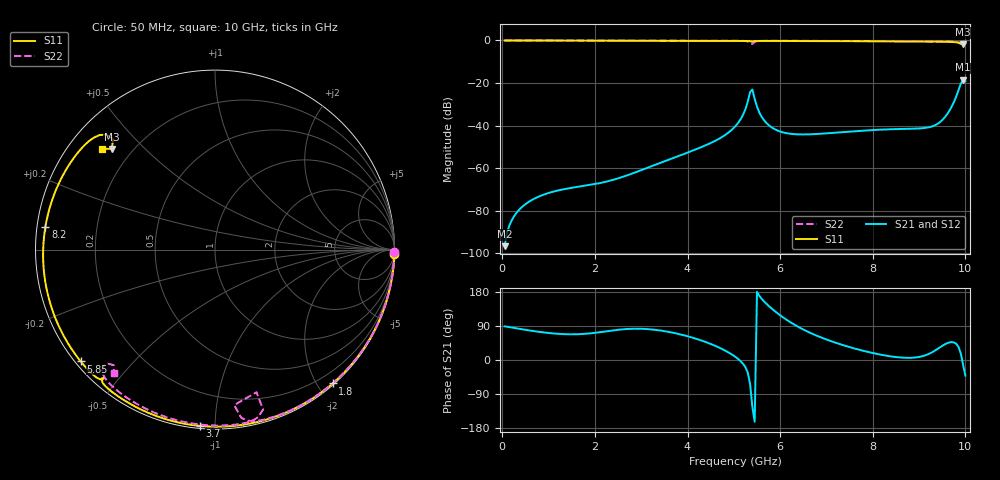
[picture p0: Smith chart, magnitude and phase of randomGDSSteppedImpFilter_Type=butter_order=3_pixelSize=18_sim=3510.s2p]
! freq	dB(S11)	phase(S11)	dB(S12)	phase(S12)
!  dB(S21)	phase(S21)	dB(S22)	phase(S22)
!S-par simulation data
#  GHz  S  DB  R 50
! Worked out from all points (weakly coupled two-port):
!   200 points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, 50 MHz to 10 GHz, reference 50 ohm
!   highest |S21| = -18.40 dB at 9.95 GHz (marker M1); lowest = -96.6 dB at 50 MHz (marker M2)
!   lowest |S11| = -1.9 dB at 9.95 GHz (marker M3), VSWR 9.21, Z = 6.32 + j20.1 ohm
!   |S11| at or under -10 dB: nowhere
!   |S22| runs from -1.6 to 0.0 dB; largest |S21 - S12| = 0
!   S11 on the Smith chart (normalised r, x): 50 MHz: 0, -82; 1.8 GHz: 0.02, -2.21; 3.7 GHz: 0.01, -0.92; 5.85 GHz: 0.02, -0.36; 8.2 GHz: 0.02, +0.07; 10 GHz: 0.10, +0.38
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0.05  -0.00 -1.4  -96.62 88.9  -96.62 88.9  -0.00 -0.8
0.35  -0.01 -9.7  -79.84 82.6  -79.84 82.6  -0.01 -5.4
0.85  -0.03 -23.4  -72.77 73.4  -72.77 73.4  -0.02 -13.0
1.75  -0.06 -47.4  -68.35 68.8  -68.35 68.8  -0.03 -26.6
1.8  -0.06 -48.7  -68.18 69.2  -68.18 69.2  -0.03 -27.4
3.4  -0.11 -87.9  -57.60 78.0  -57.60 78.0  -0.07 -50.7
3.7  -0.12 -94.8  -55.14 71.6  -55.14 71.6  -0.07 -55.0
4.6  -0.16 -114.7  -47.11 37.3  -47.11 37.3  -0.10 -67.7
5.05  -0.18 -124.3  -39.85 6.8  -39.85 6.8  -0.13 -74.5
5.25  -0.22 -128.8  -32.29 -19.0  -32.29 -19.0  -0.26 -79.1
5.35  -0.39 -131.4  -24.25 -62.7  -24.25 -62.7  -1.18 -83.0
5.4  -0.48 -130.7  -23.03 -123.7  -23.03 -123.7  -1.64 -73.8
5.55  -0.24 -133.8  -33.83 169.4  -33.83 169.4  -0.24 -77.0
5.85  -0.23 -140.2  -41.28 132.4  -41.28 132.4  -0.16 -82.5
6.2  -0.25 -147.3  -43.77 101.3  -43.77 101.3  -0.17 -87.4
6.7  -0.29 -157.4  -44.03 68.9  -44.03 68.9  -0.19 -93.9
8.2  -0.41 172.4  -41.87 13.4  -41.87 13.4  -0.29 -112.2
8.35  -0.43 169.3  -41.73 10.2  -41.73 10.2  -0.30 -114.0
9.4  -0.56 146.3  -39.15 29.3  -39.15 29.3  -0.42 -126.7
9.65  -0.65 139.9  -33.16 46.2  -33.16 46.2  -0.50 -130.2
9.95  -1.89 135.7  -18.40 -11.6  -18.40 -11.6  -1.35 -131.2
10  -1.47 138.2  -19.15 -41.4  -19.15 -41.4  -1.03 -129.4
